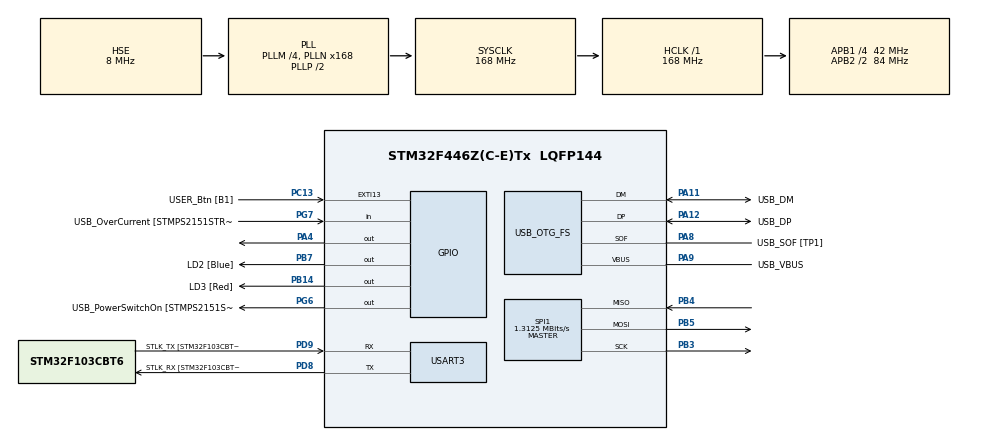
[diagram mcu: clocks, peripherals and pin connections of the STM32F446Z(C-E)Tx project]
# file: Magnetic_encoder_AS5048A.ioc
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Mcu.Family=STM32F4
Mcu.Name=STM32F446Z(C-E)Tx
Mcu.Package=LQFP144
NVIC.PriorityGroup=NVIC_PRIORITYGROUP_4
NVIC.SPI1_IRQn=true\:0\:0\:false\:false\:true\:true\:true
PA10.GPIO_Label=USB_ID
PA10.Signal=USB_OTG_FS_ID
PA11.GPIO_Label=USB_DM
PA11.Mode=Device_Only
PA11.Signal=USB_OTG_FS_DM
PA12.GPIO_Label=USB_DP
PA12.Mode=Device_Only
PA12.Signal=USB_OTG_FS_DP
PA13.GPIO_Label=TMS
PA13.Mode=Serial_Wire
PA13.Signal=SYS_JTMS-SWDIO
PA14.GPIO_Label=TCK
PA14.Mode=Serial_Wire
PA14.Signal=SYS_JTCK-SWCLK
PA4.Signal=GPIO_Output
PA8.GPIO_Label=USB_SOF [TP1]
PA8.Mode=Activate_SOF_FS
PA8.Signal=USB_OTG_FS_SOF
PA9.GPIO_Label=USB_VBUS
PA9.Mode=Activate_VBUS
PA9.Signal=USB_OTG_FS_VBUS
PB14.GPIO_Label=LD3 [Red]
PB14.Signal=GPIO_Output
PB3.Mode=Full_Duplex_Master
PB3.Signal=SPI1_SCK
PB4.Mode=Full_Duplex_Master
PB4.Signal=SPI1_MISO
PB5.Mode=Full_Duplex_Master
PB5.Signal=SPI1_MOSI
PB7.GPIO_Label=LD2 [Blue]
PB7.Signal=GPIO_Output
PC13.GPIO_Label=USER_Btn [B1]
PC13.Signal=GPXTI13
PC14-OSC32_IN.Mode=LSE-External-Oscillator
PC14-OSC32_IN.Signal=RCC_OSC32_IN
PC15-OSC32_OUT.Mode=LSE-External-Oscillator
PC15-OSC32_OUT.Signal=RCC_OSC32_OUT
PD8.GPIO_Label=STLK_RX [STM32F103CBT6_PA3]
PD8.Mode=Asynchronous
PD8.Signal=USART3_TX
PD9.GPIO_Label=STLK_TX [STM32F103CBT6_PA2]
PD9.Mode=Asynchronous
PD9.Signal=USART3_RX
PG6.GPIO_Label=USB_PowerSwitchOn [STMPS2151STR_EN]
PG6.Signal=GPIO_Output
PG7.GPIO_Label=USB_OverCurrent [STMPS2151STR_FAULT]
PG7.Signal=GPIO_Input
PH0-OSC_IN.GPIO_Label=MCO [STM32F103CBT6_PA8]
PH0-OSC_IN.Mode=HSE-External-Clock-Source
PH0-OSC_IN.Signal=RCC_OSC_IN
PH1-OSC_OUT.Mode=HSE-External-Clock-Source
PH1-OSC_OUT.Signal=RCC_OSC_OUT
ProjectManager.HeapSize=0x200
ProjectManager.StackSize=0x400
ProjectManager.TargetToolchain=STM32CubeIDE
RCC.48MHZClocksFreq_Value=24000000
RCC.AHBFreq_Value=168000000
RCC.APB1CLKDivider=RCC_HCLK_DIV4
RCC.APB1Freq_Value=42000000
RCC.APB1TimFreq_Value=84000000
RCC.APB2CLKDivider=RCC_HCLK_DIV2
RCC.APB2Freq_Value=84000000
RCC.APB2TimFreq_Value=168000000
RCC.CortexFreq_Value=168000000
RCC.HCLKFreq_Value=168000000
RCC.HSE_VALUE=8000000
RCC.HSI_VALUE=16000000
RCC.PLLM=4
RCC.PLLMUL=RCC_PLL_MUL9
RCC.PLLN=168
RCC.PLLQ=7
RCC.PRESCALERUSB=RCC_USBCLKSOURCE_PLL_DIV1_5
RCC.SYSCLKFreq_VALUE=168000000
RCC.SYSCLKSource=RCC_SYSCLKSOURCE_PLLCLK
RCC.SYSCLKSourceVirtual=RCC_SYSCLKSOURCE_PLLCLK
RCC.USBFreq_Value=48000000
RCC.VCOOutputFreq_Value=336000000
SPI1.BaudRatePrescaler=SPI_BAUDRATEPRESCALER_64
SPI1.CLKPhase=SPI_PHASE_2EDGE
SPI1.CalculateBaudRate=1.3125 MBits/s
SPI1.DataSize=SPI_DATASIZE_16BIT
SPI1.Direction=SPI_DIRECTION_2LINES
SPI1.Mode=SPI_MODE_MASTER
SPI1.VirtualType=VM_MASTER
USART3.VirtualMode=VM_ASYNC
USB_OTG_FS.VirtualMode=Device_Only
board=NUCLEO-F446ZE

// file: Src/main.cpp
/* USER CODE BEGIN Header */
/**
  ******************************************************************************
  * @file           : main.c
  * @brief          : Main program body
  ******************************************************************************
  * @attention
  *
  * <h2><center>&copy; Copyright (c) 2019 STMicroelectronics.
  * All rights reserved.</center></h2>
  *
  * This software component is licensed by ST under BSD 3-Clause license,
  * the "License"; You may not use this file except in compliance with the
  * License. You may obtain a copy of the License at:
  *                        opensource.org/licenses/BSD-3-Clause
  *
  ******************************************************************************
  */
/* USER CODE END Header */

#include "main.h"

/* USER CODE BEGIN Includes */
#include "stdio.h"
#include "stdarg.h"
#include "string.h"

#include "as5048a.h"

/* AMS A5048A magnetic encoder SPI connections to NUCLEO-f446ZE with STM32F446ZE microcontroller

		SPI1 prescaler from 2 changed to 4, because at default 2 SPI not worked

		AS5048A				NUCLEO-f446ZE
		5V			---- 	C8 Pin 9
		GND   		---- 	C8 Pin 11 or 13
		SCL(SCK)   	---- 	CN7 Pin 15 or PB3
		SDA(MOSI)   ---- 	CN7 Pin 13 or PB5
		SDO(MISO)   ---- 	CN7 Pin 19 or PB4
		CS    		---- 	CN7 Pin 17 or PA4

		SPI mode 1:
		Clock polarity 0
		Clock phase 2 edge (not 1 edge)

*/
/* USER CODE END Includes */

SPI_HandleTypeDef hspi1;

UART_HandleTypeDef huart3;

PCD_HandleTypeDef hpcd_USB_OTG_FS;

void SystemClock_Config(void);
static void MX_GPIO_Init(void);
static void MX_USART3_UART_Init(void);
static void MX_USB_OTG_FS_PCD_Init(void);
static void MX_SPI1_Init(void);

/* USER CODE BEGIN 0 */

AS5048A angleSensor(&hspi1, GPIOA, GPIO_PIN_4);

#ifdef __GNUC__
	#define PUTCHAR_PROTOTYPE int __io_putchar(int ch)
#else
	#define PUTCHAR_PROTOTYPE int std::fputc(int ch, FILE *f)
#endif /* __GNUC__ */

/**
 * @brief Retargets the C library printf function to the USART.
 * @param None
 * @retval None
 */
#ifdef __cplusplus
 extern "C" {
#endif

		PUTCHAR_PROTOTYPE
		{
		 /* Place your implementation of fputc here */
		 /* e.g. write a character to the USART2 and Loop until the end of transmission */
		 HAL_UART_Transmit(&huart3, (uint8_t *)&ch, 1, 0xFFFF);

		return ch;
		}

#ifdef __cplusplus
}
#endif
/* USER CODE END 0 */

int main(void)
{
  /* USER CODE BEGIN 1 */
	uint16_t zero_position;
	float zero_position_map;
  /* USER CODE END 1 */

  /* MCU Configuration--------------------------------------------------------*/

  /* Reset of all peripherals, Initializes the Flash interface and the Systick. */
  HAL_Init();

  /* Configure the system clock */
  SystemClock_Config();

  /* Initialize all configured peripherals */
  MX_GPIO_Init();
  MX_USART3_UART_Init();
  MX_USB_OTG_FS_PCD_Init();
  MX_SPI1_Init();
  /* USER CODE BEGIN 2 */

  //angleSensor.init();
  //HAL_Delay(100);

  zero_position = angleSensor.getRawRotation();
  printf("Zero: %d\n", zero_position);
  zero_position_map = angleSensor.read2angle(zero_position);
  printf("Angle: %f\n", zero_position_map);

  /* USER CODE END 2 */

  /* Infinite loop */
  /* USER CODE BEGIN WHILE */
  while (1)
  {
	  /*
	  printf("Raw rotation = %d\n", angleSensor.getRawRotation());
	  printf("Rotation relative to zero position = %d\n", angleSensor.getRotation());
	   */
	  /**
	   * Print the diagnostic register of the sensor
	   */
	  /*
	  if(angleSensor.error() == 1){
		  printf("Error bit was set!\n");
	  }
	  printf("error bit = %d\n", angleSensor.getState());
	  printf("Clearing Errors = %d\n", angleSensor.getErrors());
	  */

	  uint16_t current_angle = angleSensor.getRawRotation();
	  float current_angle_map = angleSensor.read2angle(current_angle);

	  float angle = current_angle_map - zero_position_map;
	  angle = angleSensor.normalize(angle);

	  printf("Current Angle: %d\nCurrent Angle Map: %f\nAngle: %f\n\n", current_angle, current_angle_map, angle);

	  if (angleSensor.error()) {
		  printf("ERROR: %d\n", angleSensor.getErrors());
	  }

	  HAL_Delay(200);

    /* USER CODE END WHILE */

  }
}

void SystemClock_Config(void)
{
  RCC_OscInitTypeDef RCC_OscInitStruct = {0};
  RCC_ClkInitTypeDef RCC_ClkInitStruct = {0};
  RCC_PeriphCLKInitTypeDef PeriphClkInitStruct = {0};

  /** Configure the main internal regulator output voltage
  */
  __HAL_RCC_PWR_CLK_ENABLE();
  __HAL_PWR_VOLTAGESCALING_CONFIG(PWR_REGULATOR_VOLTAGE_SCALE1);
  /** Initializes the CPU, AHB and APB busses clocks
  */
  RCC_OscInitStruct.OscillatorType = RCC_OSCILLATORTYPE_HSE;
  RCC_OscInitStruct.HSEState = RCC_HSE_BYPASS;
  RCC_OscInitStruct.PLL.PLLState = RCC_PLL_ON;
  RCC_OscInitStruct.PLL.PLLSource = RCC_PLLSOURCE_HSE;
  RCC_OscInitStruct.PLL.PLLM = 4;
  RCC_OscInitStruct.PLL.PLLN = 168;
  RCC_OscInitStruct.PLL.PLLP = RCC_PLLP_DIV2;
  RCC_OscInitStruct.PLL.PLLQ = 7;
  RCC_OscInitStruct.PLL.PLLR = 2;
  if (HAL_RCC_OscConfig(&RCC_OscInitStruct) != HAL_OK)
  {
    Error_Handler();
  }
  /** Initializes the CPU, AHB and APB busses clocks
  */
  RCC_ClkInitStruct.ClockType = RCC_CLOCKTYPE_HCLK|RCC_CLOCKTYPE_SYSCLK
                              |RCC_CLOCKTYPE_PCLK1|RCC_CLOCKTYPE_PCLK2;
  RCC_ClkInitStruct.SYSCLKSource = RCC_SYSCLKSOURCE_PLLCLK;
  RCC_ClkInitStruct.AHBCLKDivider = RCC_SYSCLK_DIV1;
  RCC_ClkInitStruct.APB1CLKDivider = RCC_HCLK_DIV4;
  RCC_ClkInitStruct.APB2CLKDivider = RCC_HCLK_DIV2;

  if (HAL_RCC_ClockConfig(&RCC_ClkInitStruct, FLASH_LATENCY_5) != HAL_OK)
  {
    Error_Handler();
  }
  PeriphClkInitStruct.PeriphClockSelection = RCC_PERIPHCLK_CLK48;
  PeriphClkInitStruct.Clk48ClockSelection = RCC_CLK48CLKSOURCE_PLLQ;
  if (HAL_RCCEx_PeriphCLKConfig(&PeriphClkInitStruct) != HAL_OK)
  {
    Error_Handler();
  }
}

static void MX_SPI1_Init(void)
{

  /* SPI1 parameter configuration*/
  hspi1.Instance = SPI1;
  hspi1.Init.Mode = SPI_MODE_MASTER;
  hspi1.Init.Direction = SPI_DIRECTION_2LINES;
  hspi1.Init.DataSize = SPI_DATASIZE_16BIT;
  hspi1.Init.CLKPolarity = SPI_POLARITY_LOW;
  hspi1.Init.CLKPhase = SPI_PHASE_2EDGE;
  hspi1.Init.NSS = SPI_NSS_SOFT;
  hspi1.Init.BaudRatePrescaler = SPI_BAUDRATEPRESCALER_64;
  hspi1.Init.FirstBit = SPI_FIRSTBIT_MSB;
  hspi1.Init.TIMode = SPI_TIMODE_DISABLE;
  hspi1.Init.CRCCalculation = SPI_CRCCALCULATION_DISABLE;
  hspi1.Init.CRCPolynomial = 10;
  if (HAL_SPI_Init(&hspi1) != HAL_OK)
  {
    Error_Handler();
  }

}

static void MX_USART3_UART_Init(void)
{

  huart3.Instance = USART3;
  huart3.Init.BaudRate = 115200;
  huart3.Init.WordLength = UART_WORDLENGTH_8B;
  huart3.Init.StopBits = UART_STOPBITS_1;
  huart3.Init.Parity = UART_PARITY_NONE;
  huart3.Init.Mode = UART_MODE_TX_RX;
  huart3.Init.HwFlowCtl = UART_HWCONTROL_NONE;
  huart3.Init.OverSampling = UART_OVERSAMPLING_16;
  if (HAL_UART_Init(&huart3) != HAL_OK)
  {
    Error_Handler();
  }

}

static void MX_USB_OTG_FS_PCD_Init(void)
{

  hpcd_USB_OTG_FS.Instance = USB_OTG_FS;
  hpcd_USB_OTG_FS.Init.dev_endpoints = 6;
  hpcd_USB_OTG_FS.Init.speed = PCD_SPEED_FULL;
  hpcd_USB_OTG_FS.Init.dma_enable = DISABLE;
  hpcd_USB_OTG_FS.Init.phy_itface = PCD_PHY_EMBEDDED;
  hpcd_USB_OTG_FS.Init.Sof_enable = ENABLE;
  hpcd_USB_OTG_FS.Init.low_power_enable = DISABLE;
  hpcd_USB_OTG_FS.Init.lpm_enable = DISABLE;
  hpcd_USB_OTG_FS.Init.vbus_sensing_enable = ENABLE;
  hpcd_USB_OTG_FS.Init.use_dedicated_ep1 = DISABLE;
  if (HAL_PCD_Init(&hpcd_USB_OTG_FS) != HAL_OK)
  {
    Error_Handler();
  }

}

static void MX_GPIO_Init(void)
{
  GPIO_InitTypeDef GPIO_InitStruct = {0};

  /* GPIO Ports Clock Enable */
  __HAL_RCC_GPIOC_CLK_ENABLE();
  __HAL_RCC_GPIOH_CLK_ENABLE();
  __HAL_RCC_GPIOA_CLK_ENABLE();
  __HAL_RCC_GPIOB_CLK_ENABLE();
  __HAL_RCC_GPIOD_CLK_ENABLE();
  __HAL_RCC_GPIOG_CLK_ENABLE();

  /*Configure GPIO pin Output Level */
  HAL_GPIO_WritePin(GPIOA, GPIO_PIN_4, GPIO_PIN_RESET);

  /*Configure GPIO pin Output Level */
  HAL_GPIO_WritePin(GPIOB, LD3_Pin|LD2_Pin, GPIO_PIN_RESET);

  /*Configure GPIO pin Output Level */
  HAL_GPIO_WritePin(USB_PowerSwitchOn_GPIO_Port, USB_PowerSwitchOn_Pin, GPIO_PIN_RESET);

  /*Configure GPIO pin : USER_Btn_Pin */
  GPIO_InitStruct.Pin = USER_Btn_Pin;
  GPIO_InitStruct.Mode = GPIO_MODE_IT_RISING;
  GPIO_InitStruct.Pull = GPIO_NOPULL;
  HAL_GPIO_Init(USER_Btn_GPIO_Port, &GPIO_InitStruct);

  /*Configure GPIO pin : PA4 */
  GPIO_InitStruct.Pin = GPIO_PIN_4;
  GPIO_InitStruct.Mode = GPIO_MODE_OUTPUT_PP;
  GPIO_InitStruct.Pull = GPIO_NOPULL;
  GPIO_InitStruct.Speed = GPIO_SPEED_FREQ_LOW;
  HAL_GPIO_Init(GPIOA, &GPIO_InitStruct);

  /*Configure GPIO pins : LD3_Pin LD2_Pin */
  GPIO_InitStruct.Pin = LD3_Pin|LD2_Pin;
  GPIO_InitStruct.Mode = GPIO_MODE_OUTPUT_PP;
  GPIO_InitStruct.Pull = GPIO_NOPULL;
  GPIO_InitStruct.Speed = GPIO_SPEED_FREQ_LOW;
  HAL_GPIO_Init(GPIOB, &GPIO_InitStruct);

  /*Configure GPIO pin : USB_PowerSwitchOn_Pin */
  GPIO_InitStruct.Pin = USB_PowerSwitchOn_Pin;
  GPIO_InitStruct.Mode = GPIO_MODE_OUTPUT_PP;
  GPIO_InitStruct.Pull = GPIO_NOPULL;
  GPIO_InitStruct.Speed = GPIO_SPEED_FREQ_LOW;
  HAL_GPIO_Init(USB_PowerSwitchOn_GPIO_Port, &GPIO_InitStruct);

  /*Configure GPIO pin : USB_OverCurrent_Pin */
  GPIO_InitStruct.Pin = USB_OverCurrent_Pin;
  GPIO_InitStruct.Mode = GPIO_MODE_INPUT;
  GPIO_InitStruct.Pull = GPIO_NOPULL;
  HAL_GPIO_Init(USB_OverCurrent_GPIO_Port, &GPIO_InitStruct);

}

void Error_Handler(void)
{
}

/************************ (C) COPYRIGHT STMicroelectronics *****END OF FILE****/
